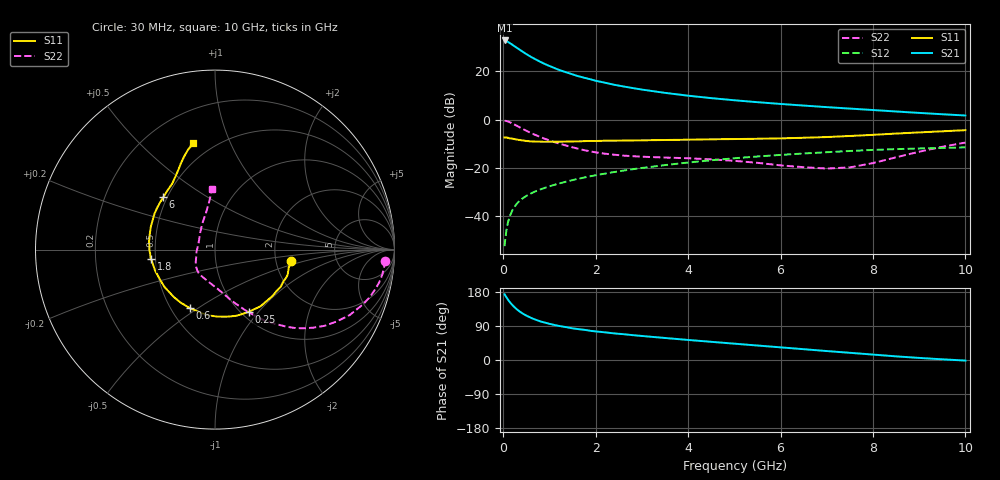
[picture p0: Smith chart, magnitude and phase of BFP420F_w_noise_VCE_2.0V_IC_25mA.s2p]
! Infineon Technologies  Discrete & RF Semiconductors
! BFP420F
! VCE =  2.0 V,  IC =  25 mA
! Common Emitter S-Parameters:  Sep 2011
# GHz  S  MA  R  50
!  f  S11  S21  S12  S22
! GHz  MAG  ANG  MAG  ANG  MAG  ANG  MAG  ANG
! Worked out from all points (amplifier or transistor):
!   54 points, 30 MHz to 10 GHz, reference 50 ohm
!   highest |S21| = 32.8 dB at 30 MHz (marker M1)
!   |S21| within 3 dB of that: start of sweep to 292.5 MHz
!   unconditionally stable (mu >= 1): 1.529 GHz to end of sweep
!   at 120 MHz: K = 0.29, MSG = 36.7 dB, |S12| = -41.4 dB
!   at 1.3 GHz: K = 0.94, MSG = 23.0 dB, |S12| = -26.0 dB
!   at 10 GHz: K = 1.23, MAG = 3.7 dB, |S12| = -11.5 dB
!   lowest NFmin = 1.66 dB at 450 MHz
!   S11 on the Smith chart (normalised r, x): 30 MHz: 2.44, -0.37; 250 MHz: 1.08, -0.89; 600 MHz: 0.62, -0.46; 1.8 GHz: 0.47, -0.06; 6 GHz: 0.48, +0.33; 10 GHz: 0.39, +0.74
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0.03  0.429 -8.2  43.73 173.2  0.0024 86.5  0.9491 -3.7
0.07  0.4281 -19.5  42.47 165.4  0.0052 85.2  0.9379 -9.8
0.12  0.4158 -32.2  40 156.2  0.0085 80.8  0.9039 -16.7
0.15  0.4109 -39.5  38.21 151.6  0.0104 78.2  0.8793 -20.3
0.2  0.405 -51.3  35.54 144.8  0.0134 75.0  0.8345 -25.9
0.25  0.3942 -61.7  32.87 138.6  0.0159 72.4  0.787 -30.6
0.3  0.388 -71.8  30.63 133.2  0.0185 70.0  0.744 -34.8
0.4  0.3735 -88.2  26.31 124.3  0.0227 67.0  0.6606 -41.6
0.5  0.362 -101.7  22.85 117.2  0.0264 65.1  0.5894 -46.9
0.6  0.355 -113.3  19.99 111.3  0.0297 63.9  0.5291 -51.3
0.8  0.3501 -130.6  15.84 102.0  0.0358 62.8  0.4386 -58.3
1  0.3499 -142.9  12.94 95.5  0.0416 62.7  0.3719 -64.0
1.3  0.3505 -156.5  10.02 87.9  0.0503 62.4  0.302 -71.4
1.7  0.3571 -169.2  7.607 80.4  0.0618 61.9  0.2395 -81.2
1.8  0.3611 -171.5  7.2 78.9  0.0648 61.9  0.2289 -83.8
2.4  0.3664 176.3  5.284 70.2  0.0823 60.0  0.1882 -98.4
3.5  0.3794 160.4  3.592 58.1  0.1147 55.5  0.1643 -118.3
5.5  0.4025 140.1  2.303 38.2  0.1728 43.5  0.1278 -147.2
6  0.41 134.7  2.118 33.4  0.1864 40.3  0.1131 -158.0
7  0.4369 123.2  1.82 23.6  0.212 33.5  0.0972 169.1
8.5  0.5156 111.7  1.478 9.6  0.2454 22.5  0.1662 114.4
10  0.6067 101.6  1.221 -1.5  0.2668 13.2  0.336 93.0
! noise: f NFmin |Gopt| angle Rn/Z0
0.45  1.66  0.23  -177  0.1
0.9  1.68  0.25  -175  0.13
1.9  1.81  0.32  -166  0.14
2.4  1.87  0.32  -160  0.12
3.5  2.1  0.32  -151  0.17
